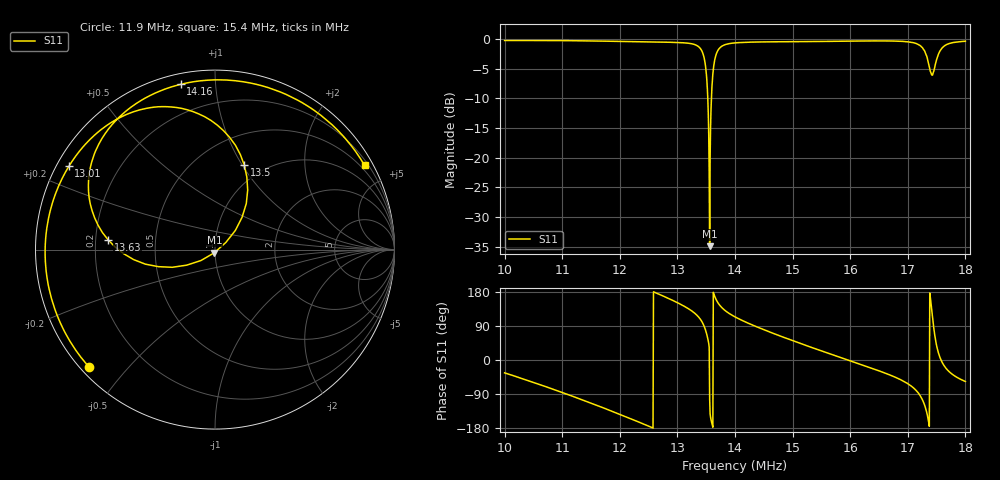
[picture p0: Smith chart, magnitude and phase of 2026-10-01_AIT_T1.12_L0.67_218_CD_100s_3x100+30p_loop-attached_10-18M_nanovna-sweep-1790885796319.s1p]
! NanoVNA Web complex sweep
! Processing: unaveraged complex samples; linear segment spacing; no smoothing
# Hz S RI R 50
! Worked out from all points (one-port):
!   1010 points, 10 MHz to 18 MHz, reference 50 ohm
!   lowest |S11| = -34.9 dB at 13.56 MHz (marker M1), VSWR 1.04, Z = 49.6 - j1.74 ohm
!   |S11| at or under -10 dB: 13.52761 MHz to 13.59057 MHz (62.96 kHz wide, 0.464 % of centre)
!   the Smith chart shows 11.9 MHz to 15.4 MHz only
!   S11 on the Smith chart (normalised r, x): 11.9 MHz: 0.02, -0.39; 13.01 MHz: 0.03, +0.26; 13.5 MHz: 0.82, +1.02; 13.63 MHz: 0.25, +0.04; 14.16 MHz: 0.05, +0.81; 15.4 MHz: 0.35, +3.79
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1e7  0.8092 -0.5441
1.100698e7  0.0666 -0.9702
1.189503e7  -0.7019 -0.6539
1.200604e7  -0.7717 -0.5662
1.252935e7  -0.9455 -0.0586
1.300509e7  -0.8192 0.4559
1.301302e7  -0.8141 0.4643
1.338568e7  -0.2932 0.7964
1.350462e7  0.1632 0.4702
1.35284e7  0.1744 0.2563
1.356012e7  -0.00368 -0.0176
1.363148e7  -0.595 0.0539
1.37742e7  -0.6477 0.5869
1.400414e7  -0.3714 0.8536
1.416272e7  -0.1904 0.921
1.50032e7  0.5999 0.7404
1.539965e7  0.8333 0.469
1.600225e7  0.9608 -0.0377
1.657314e7  0.8138 -0.5215
1.700131e7  0.4367 -0.8435
1.723125e7  -0.1237 -0.8598
1.735018e7  -0.5887 -0.2947
1.739776e7  -0.4866 0.2036
1.746119e7  0.1627 0.5383
1.752462e7  0.6752 0.2854
1.759598e7  0.8392 -0.0878
1.775456e7  0.7561 -0.54
1.800036e7  0.5271 -0.8027
